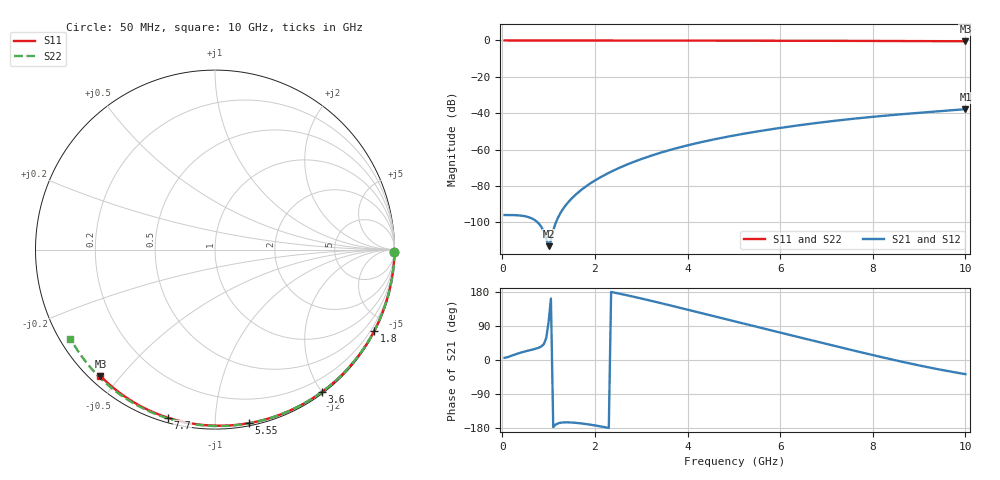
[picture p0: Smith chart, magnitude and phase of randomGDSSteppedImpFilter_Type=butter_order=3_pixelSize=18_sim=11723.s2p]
! freq	dB(S11)	phase(S11)	dB(S12)	phase(S12)
!  dB(S21)	phase(S21)	dB(S22)	phase(S22)
!S-par simulation data
#  GHz  S  DB  R 50
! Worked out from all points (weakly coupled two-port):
!   200 points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, 50 MHz to 10 GHz, reference 50 ohm
!   highest |S21| = -37.80 dB at 10 GHz (marker M1); lowest = -113.1 dB at 1 GHz (marker M2)
!   lowest |S11| = -0.4 dB at 10 GHz (marker M3), VSWR 39.38, Z = 1.52 - j22.2 ohm
!   |S11| at or under -10 dB: nowhere
!   |S22| runs from -0.5 to 0.0 dB; largest |S21 - S12| = 0
!   S11 on the Smith chart (normalised r, x): 50 MHz: open; 1.8 GHz: 0.04, -4.15; 3.6 GHz: 0.02, -2.01; 5.55 GHz: 0.02, -1.21; 7.7 GHz: 0.02, -0.76; 10 GHz: 0.03, -0.44
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0.05  -0.00 -0.8  -96.02 5.8  -96.02 5.8  -0.00 -0.9
0.5  -0.01 -7.6  -96.73 23.0  -96.73 23.0  -0.01 -8.6
1  -0.02 -15.2  -113.15 100.3  -113.15 100.3  -0.02 -17.1
1.75  -0.03 -26.3  -81.33 -168.0  -81.33 -168.0  -0.04 -29.7
1.8  -0.03 -27.1  -80.39 -168.9  -80.39 -168.9  -0.04 -30.5
1.85  -0.04 -27.8  -79.50 -169.7  -79.50 -169.7  -0.04 -31.4
2.05  -0.04 -30.8  -76.26 -173.6  -76.26 -173.6  -0.04 -34.7
2.2  -0.04 -32.9  -74.12 -176.9  -74.12 -176.9  -0.05 -37.1
2.55  -0.05 -38.0  -69.80 174.6  -69.80 174.6  -0.06 -42.8
2.95  -0.06 -43.8  -65.72 163.8  -65.72 163.8  -0.06 -49.3
3.4  -0.07 -50.1  -61.89 150.8  -61.89 150.8  -0.08 -56.4
3.6  -0.07 -52.9  -60.39 144.9  -60.39 144.9  -0.08 -59.5
3.9  -0.08 -57.1  -58.34 135.9  -58.34 135.9  -0.09 -64.2
4.3  -0.09 -62.6  -55.90 123.7  -55.90 123.7  -0.10 -70.3
5.05  -0.11 -72.6  -52.06 100.9  -52.06 100.9  -0.13 -81.4
5.55  -0.13 -79.1  -49.88 85.9  -49.88 85.9  -0.15 -88.6
6.1  -0.15 -86.1  -47.74 69.3  -47.74 69.3  -0.17 -96.4
6.7  -0.18 -93.5  -45.67 51.4  -45.67 51.4  -0.20 -104.7
7.7  -0.24 -105.6  -42.75 21.7  -42.75 21.7  -0.27 -118.2
8.35  -0.29 -113.2  -41.18 3.1  -41.18 3.1  -0.33 -126.8
9.2  -0.36 -123.0  -39.39 -19.3  -39.39 -19.3  -0.41 -138.0
10  -0.44 -132.2  -37.80 -37.3  -37.80 -37.3  -0.49 -148.4
